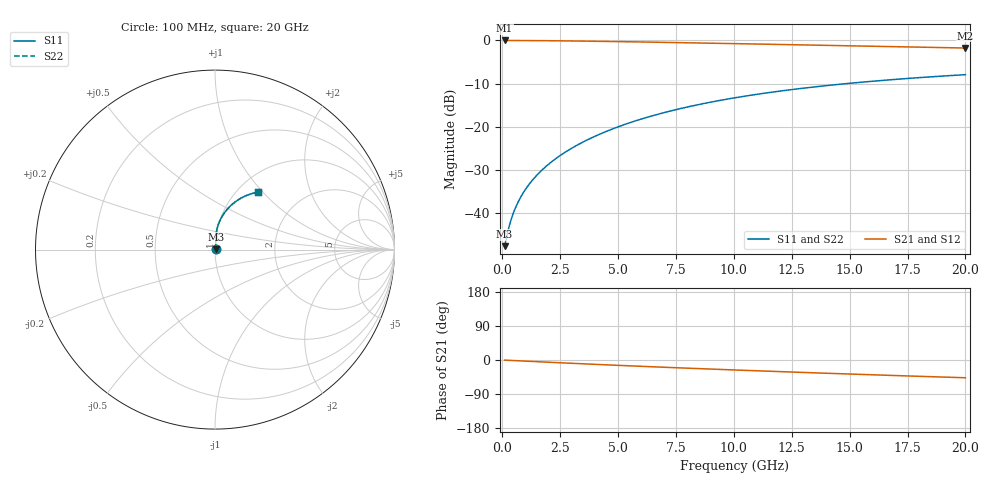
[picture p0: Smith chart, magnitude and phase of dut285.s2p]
! Touchstone file exported from HFSS 2024.1.0
!  File:  C:/UserFiles/LocalFiles/RDL_TSV_Batchsim/temp_RDL_bottom_285_1778703141.aedt
!  Generated:  04:14:57 AM May 14, 2026
!  Design:  RDL_bottom
!  Project:  temp_RDL_bottom_285_1778703141
!  Setup:  Setup1
!  Solution:  Sweep
! Variables:
!  dtsv = 10.80580581um
!  hbump = 3um
!  htsv = 58.28um
!  ldown = 656.49um
!  lrdl = 100um
!  p = 40
!  p1 = 58.68um
!  rhole = 1um
!  t = 450um
!  tdown = 2.54um
!  trdl = 3.915915916um
!  wdown = 27.57um
!  wrdl = 20um
# GHz S MA R 50.000000
! Terminal data exported
! Port[1] = RDL1_T1
! Port[2] = RDL1_T2
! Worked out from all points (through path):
!   200 points, 100 MHz to 20 GHz, reference 50 ohm
!   highest |S21| = -0.03 dB at 100 MHz (marker M1); lowest = -1.8 dB at 20 GHz (marker M2)
!   group delay of S21, straight-line fit = 6.43 ps
!   lowest |S11| = -47.6 dB at 100 MHz (marker M3), VSWR 1.01, Z = 50.4 + j0.207 ohm
!   |S11| at or under -10 dB: start of sweep to 14.87 GHz
!   |S22| runs from -47.6 to -7.9 dB; largest |S21 - S12| = 2.7e-14
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0.1  0.004175 29.5  0.9963 -0.3  0.9963 -0.3  0.004175 29.5
! Gamma 0 0 0 0
! Port Impedance 50 0 50 0
0.2  0.005538 46.9  0.9961 -0.6  0.9961 -0.6  0.005538 46.9
0.3  0.007141 56.3  0.9959 -0.9  0.9959 -0.9  0.007141 56.3
0.4  0.008793 62.0  0.9956 -1.2  0.9956 -1.2  0.008793 62.0
0.5  0.01045 66.0  0.9953 -1.5  0.9953 -1.5  0.01045 66.0
0.6  0.01212 69.0  0.9951 -1.8  0.9951 -1.8  0.01212 69.0
0.8  0.01548 73.3  0.9945 -2.4  0.9945 -2.4  0.01548 73.3
1.1  0.02064 77.5  0.9936 -3.3  0.9936 -3.3  0.02064 77.5
1.3  0.02417 79.5  0.9929 -3.9  0.9929 -3.9  0.02417 79.4
1.6  0.02958 81.6  0.9917 -4.7  0.9917 -4.7  0.02957 81.6
2.1  0.0389 83.8  0.9892 -6.2  0.9892 -6.2  0.0389 83.8
2.7  0.05059 85.3  0.9855 -7.9  0.9855 -7.9  0.05059 85.3
3.5  0.06702 86.1  0.9797 -10.1  0.9797 -10.1  0.06701 86.0
4.2  0.08208 86.0  0.9739 -12.0  0.9739 -12.0  0.08207 86.0
5  0.09995 85.3  0.9667 -14.1  0.9667 -14.1  0.09993 85.3
6.8  0.1417 82.4  0.9492 -18.7  0.9492 -18.7  0.1416 82.4
8.4  0.1791 78.9  0.9328 -22.6  0.9328 -22.6  0.179 78.9
10.1  0.2179 75.0  0.9151 -26.5  0.9151 -26.5  0.2178 74.9
11.7  0.2528 71.1  0.8985 -30.1  0.8985 -30.1  0.2528 71.1
13.4  0.2879 67.1  0.8809 -33.7  0.8809 -33.7  0.2878 67.1
16.7  0.3489 59.8  0.8471 -40.5  0.8471 -40.5  0.3488 59.8
20  0.4008 53.0  0.8145 -46.9  0.8145 -46.9  0.4007 53.0
